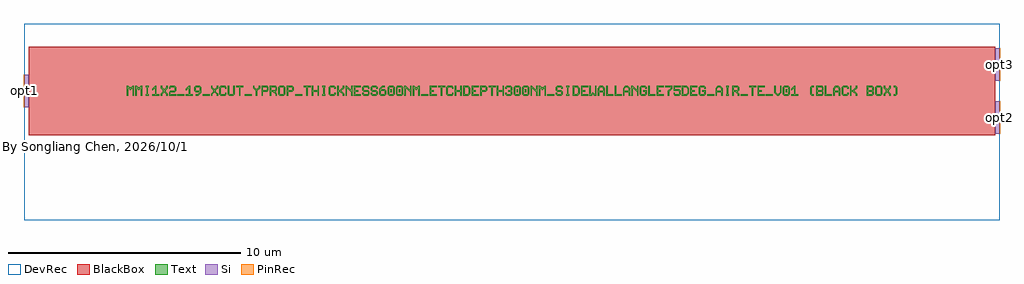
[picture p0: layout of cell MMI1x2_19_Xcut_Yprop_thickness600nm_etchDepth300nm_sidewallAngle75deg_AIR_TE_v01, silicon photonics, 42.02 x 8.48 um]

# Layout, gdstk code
import gdstk
lib = gdstk.Library(unit=1e-6, precision=1e-10)
def R(c, l, rs):  # rectangles x0, y0, x1, y1
    for r in rs: c.add(gdstk.rectangle(r[:2], r[2:], *l))
def A(c, l, x, y, w, h, nx, ny, dx, dy):  # array of equal rectangles
    R(c, l, [(x+i*dx, y+j*dy, x+i*dx+w, y+j*dy+h) for i in range(nx) for j in range(ny)])
def P(c, l, *ps):  # polygons
    for p in ps: c.add(gdstk.Polygon(p, *l))
Si = (1, 0)
PinRec = (1, 10)
Text = (10, 0)
DevRec = (68, 0)
BlackBox = (998, 0)

text = lib.new_cell('TEXT')
A(text, Text, 7.24, 0, 0.301, 0.06, 3, 1, 5.43, 0)
R(text, Text, [(2.172,0,2.473,0.06), (3.258,0,3.559,0.06), (5.068,0,5.369,0.06), (24.978,0,25.279,0.06), (26.426,0,26.727,0.06), (27.512,0,27.813,0.06), (11.343,0.151,11.403,0.271), (11.705,0.151,11.765,0.271), (16.773,0.151,16.833,0.271), (17.135,0.151,17.195,0.271), (28.357,0.151,28.417,0.271)])
P(text, Text, [(0,0),(0,0.422),(0.06,0.422),(0.121,0.362),(0.181,0.362),(0.241,0.422),(0.301,0.422),(0.301,0),(0.241,0),(0.241,0.301),(0.211,0.301),(0.151,0.241),(0.09,0.301),(0.06,0.301),(0.06,0)],
  [(0.362,0),(0.362,0.422),(0.422,0.422),(0.483,0.362),(0.543,0.362),(0.603,0.422),(0.663,0.422),(0.663,0),(0.603,0),(0.603,0.301),(0.573,0.301),(0.513,0.241),(0.452,0.301),(0.422,0.301),(0.422,0)],
  [(0.814,0),(0.814,0.06),(0.845,0.06),(0.845,0.362),(0.814,0.362),(0.814,0.422),(0.935,0.422),(0.935,0.362),(0.905,0.362),(0.905,0.06),(0.935,0.06),(0.935,0)],
  [(1.086,0),(1.086,0.06),(1.207,0.06),(1.207,0.301),(1.176,0.301),(1.116,0.241),(1.086,0.241),(1.086,0.301),(1.207,0.422),(1.267,0.422),(1.267,0.06),(1.387,0.06),(1.387,0)],
  [(1.448,0),(1.448,0.09),(1.538,0.181),(1.538,0.241),(1.448,0.332),(1.448,0.422),(1.508,0.422),(1.508,0.362),(1.599,0.271),(1.689,0.362),(1.689,0.422),(1.749,0.422),(1.749,0.332),(1.659,0.241),(1.659,0.181),(1.749,0.09),(1.749,0),(1.689,0),(1.689,0.06),(1.599,0.151),(1.508,0.06),(1.508,0)],
  [(1.81,0),(1.81,0.151),(1.87,0.211),(2.021,0.211),(2.051,0.241),(2.051,0.332),(2.021,0.362),(1.9,0.362),(1.87,0.332),(1.87,0.301),(1.81,0.301),(1.81,0.362),(1.87,0.422),(2.051,0.422),(2.111,0.362),(2.111,0.211),(2.051,0.151),(1.9,0.151),(1.87,0.121),(1.87,0.06),(2.111,0.06),(2.111,0)],
  [(2.534,0),(2.534,0.06),(2.655,0.06),(2.655,0.301),(2.624,0.301),(2.564,0.241),(2.534,0.241),(2.534,0.301),(2.655,0.422),(2.715,0.422),(2.715,0.06),(2.835,0.06),(2.835,0)],
  [(2.956,0),(2.956,0.06),(3.047,0.06),(3.107,0.121),(3.107,0.151),(2.956,0.151),(2.896,0.211),(3.107,0.211),(3.137,0.241),(3.137,0.332),(3.107,0.362),(2.986,0.362),(2.956,0.332),(2.956,0.241),(2.986,0.211),(2.896,0.211),(2.896,0.362),(2.956,0.422),(3.137,0.422),(3.197,0.362),(3.197,0.121),(3.077,0)],
  [(3.62,0),(3.62,0.09),(3.71,0.181),(3.71,0.241),(3.62,0.332),(3.62,0.422),(3.68,0.422),(3.68,0.362),(3.771,0.271),(3.861,0.362),(3.861,0.422),(3.921,0.422),(3.921,0.332),(3.831,0.241),(3.831,0.181),(3.921,0.09),(3.921,0),(3.861,0),(3.861,0.06),(3.771,0.151),(3.68,0.06),(3.68,0)],
  [(4.042,0),(3.982,0.06),(3.982,0.362),(4.042,0.422),(4.223,0.422),(4.283,0.362),(4.283,0.301),(4.223,0.301),(4.223,0.332),(4.193,0.362),(4.072,0.362),(4.042,0.332),(4.042,0.09),(4.072,0.06),(4.193,0.06),(4.223,0.09),(4.223,0.121),(4.283,0.121),(4.283,0.06),(4.223,0)],
  [(4.404,0),(4.344,0.06),(4.344,0.422),(4.404,0.422),(4.404,0.09),(4.434,0.06),(4.555,0.06),(4.585,0.09),(4.585,0.422),(4.645,0.422),(4.645,0.06),(4.585,0)],
  [(4.827,0),(4.827,0.362),(4.706,0.362),(4.706,0.422),(5.007,0.422),(5.007,0.362),(4.887,0.362),(4.887,0)],
  [(5.551,0),(5.551,0.211),(5.43,0.332),(5.43,0.422),(5.49,0.422),(5.49,0.362),(5.581,0.271),(5.671,0.362),(5.671,0.422),(5.731,0.422),(5.731,0.332),(5.611,0.211),(5.611,0)],
  [(5.792,0),(5.792,0.422),(6.033,0.422),(6.093,0.362),(6.093,0.241),(6.033,0.181),(5.852,0.181),(5.852,0.241),(6.003,0.241),(6.033,0.271),(6.033,0.332),(6.003,0.362),(5.852,0.362),(5.852,0)],
  [(6.154,0),(6.154,0.422),(6.395,0.422),(6.455,0.362),(6.214,0.362),(6.214,0.241),(6.365,0.241),(6.395,0.271),(6.395,0.332),(6.365,0.362),(6.455,0.362),(6.455,0.241),(6.395,0.181),(6.395,0.151),(6.455,0.09),(6.455,0),(6.395,0),(6.395,0.06),(6.275,0.181),(6.214,0.181),(6.214,0)],
  [(6.576,0),(6.516,0.06),(6.516,0.362),(6.576,0.422),(6.757,0.422),(6.817,0.362),(6.817,0.211),(6.757,0.211),(6.757,0.332),(6.727,0.362),(6.606,0.362),(6.576,0.332),(6.576,0.09),(6.606,0.06),(6.727,0.06),(6.757,0.09),(6.757,0.211),(6.817,0.211),(6.817,0.06),(6.757,0)],
  [(6.878,0),(6.878,0.422),(7.119,0.422),(7.179,0.362),(7.179,0.241),(7.119,0.181),(6.938,0.181),(6.938,0.241),(7.089,0.241),(7.119,0.271),(7.119,0.332),(7.089,0.362),(6.938,0.362),(6.938,0)],
  [(7.723,0),(7.723,0.362),(7.602,0.362),(7.602,0.422),(7.903,0.422),(7.903,0.362),(7.783,0.362),(7.783,0)],
  [(7.964,0),(7.964,0.422),(8.024,0.422),(8.024,0.241),(8.205,0.241),(8.205,0.422),(8.265,0.422),(8.265,0),(8.205,0),(8.205,0.181),(8.024,0.181),(8.024,0)],
  [(8.416,0),(8.416,0.06),(8.447,0.06),(8.447,0.362),(8.416,0.362),(8.416,0.422),(8.537,0.422),(8.537,0.362),(8.507,0.362),(8.507,0.06),(8.537,0.06),(8.537,0)],
  [(8.748,0),(8.688,0.06),(8.688,0.362),(8.748,0.422),(8.929,0.422),(8.989,0.362),(8.989,0.301),(8.929,0.301),(8.929,0.332),(8.899,0.362),(8.778,0.362),(8.748,0.332),(8.748,0.09),(8.778,0.06),(8.899,0.06),(8.929,0.09),(8.929,0.121),(8.989,0.121),(8.989,0.06),(8.929,0)],
  [(9.05,0),(9.05,0.422),(9.11,0.422),(9.11,0.241),(9.171,0.241),(9.291,0.362),(9.291,0.422),(9.351,0.422),(9.351,0.332),(9.231,0.211),(9.351,0.09),(9.351,0),(9.291,0),(9.291,0.06),(9.171,0.181),(9.11,0.181),(9.11,0)],
  [(9.412,0),(9.412,0.422),(9.472,0.422),(9.623,0.271),(9.653,0.271),(9.653,0.422),(9.713,0.422),(9.713,0),(9.653,0),(9.653,0.151),(9.502,0.301),(9.472,0.301),(9.472,0)],
  [(9.774,0),(9.774,0.422),(10.075,0.422),(10.075,0.362),(9.834,0.362),(9.834,0.241),(9.955,0.241),(9.955,0.181),(9.834,0.181),(9.834,0.06),(10.075,0.06),(10.075,0)],
  [(10.196,0),(10.136,0.06),(10.136,0.121),(10.196,0.121),(10.196,0.09),(10.226,0.06),(10.347,0.06),(10.377,0.09),(10.377,0.151),(10.347,0.181),(10.196,0.181),(10.136,0.241),(10.136,0.362),(10.196,0.422),(10.377,0.422),(10.437,0.362),(10.437,0.301),(10.377,0.301),(10.377,0.332),(10.347,0.362),(10.226,0.362),(10.196,0.332),(10.196,0.271),(10.226,0.241),(10.377,0.241),(10.437,0.181),(10.437,0.06),(10.377,0)],
  [(10.558,0),(10.498,0.06),(10.498,0.121),(10.558,0.121),(10.558,0.09),(10.588,0.06),(10.709,0.06),(10.739,0.09),(10.739,0.151),(10.709,0.181),(10.558,0.181),(10.498,0.241),(10.498,0.362),(10.558,0.422),(10.739,0.422),(10.799,0.362),(10.799,0.301),(10.739,0.301),(10.739,0.332),(10.709,0.362),(10.588,0.362),(10.558,0.332),(10.558,0.271),(10.588,0.241),(10.739,0.241),(10.799,0.181),(10.799,0.06),(10.739,0)],
  [(10.92,0),(10.86,0.06),(10.86,0.301),(10.981,0.422),(11.101,0.422),(11.101,0.362),(11.011,0.362),(10.95,0.301),(10.95,0.271),(11.101,0.271),(11.161,0.211),(10.95,0.211),(10.92,0.181),(10.92,0.09),(10.95,0.06),(11.071,0.06),(11.101,0.09),(11.101,0.181),(11.071,0.211),(11.161,0.211),(11.161,0.06),(11.101,0)],
  [(11.282,0),(11.222,0.06),(11.222,0.362),(11.282,0.422),(11.463,0.422),(11.523,0.362),(11.312,0.362),(11.282,0.332),(11.282,0.09),(11.312,0.06),(11.433,0.06),(11.463,0.09),(11.463,0.332),(11.433,0.362),(11.523,0.362),(11.523,0.06),(11.463,0)],
  [(11.644,0),(11.584,0.06),(11.584,0.362),(11.644,0.422),(11.825,0.422),(11.885,0.362),(11.674,0.362),(11.644,0.332),(11.644,0.09),(11.674,0.06),(11.795,0.06),(11.825,0.09),(11.825,0.332),(11.795,0.362),(11.885,0.362),(11.885,0.06),(11.825,0)],
  [(11.946,0),(11.946,0.422),(12.006,0.422),(12.157,0.271),(12.187,0.271),(12.187,0.422),(12.247,0.422),(12.247,0),(12.187,0),(12.187,0.151),(12.036,0.301),(12.006,0.301),(12.006,0)],
  [(12.308,0),(12.308,0.422),(12.368,0.422),(12.429,0.362),(12.489,0.362),(12.549,0.422),(12.609,0.422),(12.609,0),(12.549,0),(12.549,0.301),(12.519,0.301),(12.459,0.241),(12.398,0.301),(12.368,0.301),(12.368,0)],
  [(13.032,0),(13.032,0.422),(13.333,0.422),(13.333,0.362),(13.092,0.362),(13.092,0.241),(13.213,0.241),(13.213,0.181),(13.092,0.181),(13.092,0.06),(13.333,0.06),(13.333,0)],
  [(13.515,0),(13.515,0.362),(13.394,0.362),(13.394,0.422),(13.695,0.422),(13.695,0.362),(13.575,0.362),(13.575,0)],
  [(13.816,0),(13.756,0.06),(13.756,0.362),(13.816,0.422),(13.997,0.422),(14.057,0.362),(14.057,0.301),(13.997,0.301),(13.997,0.332),(13.967,0.362),(13.846,0.362),(13.816,0.332),(13.816,0.09),(13.846,0.06),(13.967,0.06),(13.997,0.09),(13.997,0.121),(14.057,0.121),(14.057,0.06),(13.997,0)],
  [(14.118,0),(14.118,0.422),(14.178,0.422),(14.178,0.241),(14.359,0.241),(14.359,0.422),(14.419,0.422),(14.419,0),(14.359,0),(14.359,0.181),(14.178,0.181),(14.178,0)],
  [(14.48,0),(14.48,0.422),(14.691,0.422),(14.751,0.362),(14.54,0.362),(14.54,0.06),(14.661,0.06),(14.721,0.121),(14.721,0.301),(14.661,0.362),(14.751,0.362),(14.781,0.332),(14.781,0.09),(14.691,0)],
  [(14.842,0),(14.842,0.422),(15.143,0.422),(15.143,0.362),(14.902,0.362),(14.902,0.241),(15.023,0.241),(15.023,0.181),(14.902,0.181),(14.902,0.06),(15.143,0.06),(15.143,0)],
  [(15.204,0),(15.204,0.422),(15.445,0.422),(15.505,0.362),(15.505,0.241),(15.445,0.181),(15.264,0.181),(15.264,0.241),(15.415,0.241),(15.445,0.271),(15.445,0.332),(15.415,0.362),(15.264,0.362),(15.264,0)],
  [(15.687,0),(15.687,0.362),(15.566,0.362),(15.566,0.422),(15.867,0.422),(15.867,0.362),(15.747,0.362),(15.747,0)],
  [(15.928,0),(15.928,0.422),(15.988,0.422),(15.988,0.241),(16.169,0.241),(16.169,0.422),(16.229,0.422),(16.229,0),(16.169,0),(16.169,0.181),(15.988,0.181),(15.988,0)],
  [(16.35,0),(16.29,0.06),(16.29,0.121),(16.35,0.121),(16.35,0.09),(16.38,0.06),(16.501,0.06),(16.531,0.09),(16.531,0.151),(16.501,0.181),(16.411,0.181),(16.411,0.241),(16.501,0.241),(16.531,0.271),(16.531,0.332),(16.501,0.362),(16.38,0.362),(16.35,0.332),(16.35,0.301),(16.29,0.301),(16.29,0.362),(16.35,0.422),(16.531,0.422),(16.591,0.362),(16.591,0.241),(16.561,0.211),(16.591,0.181),(16.591,0.06),(16.531,0)],
  [(16.712,0),(16.652,0.06),(16.652,0.362),(16.712,0.422),(16.893,0.422),(16.953,0.362),(16.742,0.362),(16.712,0.332),(16.712,0.09),(16.742,0.06),(16.863,0.06),(16.893,0.09),(16.893,0.332),(16.863,0.362),(16.953,0.362),(16.953,0.06),(16.893,0)],
  [(17.074,0),(17.014,0.06),(17.014,0.362),(17.074,0.422),(17.255,0.422),(17.315,0.362),(17.104,0.362),(17.074,0.332),(17.074,0.09),(17.104,0.06),(17.225,0.06),(17.255,0.09),(17.255,0.332),(17.225,0.362),(17.315,0.362),(17.315,0.06),(17.255,0)],
  [(17.376,0),(17.376,0.422),(17.436,0.422),(17.587,0.271),(17.617,0.271),(17.617,0.422),(17.677,0.422),(17.677,0),(17.617,0),(17.617,0.151),(17.466,0.301),(17.436,0.301),(17.436,0)],
  [(17.738,0),(17.738,0.422),(17.798,0.422),(17.859,0.362),(17.919,0.362),(17.979,0.422),(18.039,0.422),(18.039,0),(17.979,0),(17.979,0.301),(17.949,0.301),(17.889,0.241),(17.828,0.301),(17.798,0.301),(17.798,0)],
  [(18.522,0),(18.462,0.06),(18.462,0.121),(18.522,0.121),(18.522,0.09),(18.552,0.06),(18.673,0.06),(18.703,0.09),(18.703,0.151),(18.673,0.181),(18.522,0.181),(18.462,0.241),(18.462,0.362),(18.522,0.422),(18.703,0.422),(18.763,0.362),(18.763,0.301),(18.703,0.301),(18.703,0.332),(18.673,0.362),(18.552,0.362),(18.522,0.332),(18.522,0.271),(18.552,0.241),(18.703,0.241),(18.763,0.181),(18.763,0.06),(18.703,0)],
  [(18.914,0),(18.914,0.06),(18.945,0.06),(18.945,0.362),(18.914,0.362),(18.914,0.422),(19.035,0.422),(19.035,0.362),(19.005,0.362),(19.005,0.06),(19.035,0.06),(19.035,0)],
  [(19.186,0),(19.186,0.422),(19.397,0.422),(19.457,0.362),(19.246,0.362),(19.246,0.06),(19.367,0.06),(19.427,0.121),(19.427,0.301),(19.367,0.362),(19.457,0.362),(19.487,0.332),(19.487,0.09),(19.397,0)],
  [(19.548,0),(19.548,0.422),(19.849,0.422),(19.849,0.362),(19.608,0.362),(19.608,0.241),(19.729,0.241),(19.729,0.181),(19.608,0.181),(19.608,0.06),(19.849,0.06),(19.849,0)],
  [(19.91,0),(19.91,0.422),(19.97,0.422),(19.97,0.09),(20,0.09),(20.061,0.151),(20.121,0.09),(20.151,0.09),(20.151,0.422),(20.211,0.422),(20.211,0),(20.121,0),(20.061,0.06),(20,0)],
  [(20.272,0),(20.272,0.332),(20.362,0.422),(20.483,0.422),(20.543,0.362),(20.393,0.362),(20.332,0.301),(20.332,0.211),(20.513,0.211),(20.513,0.301),(20.453,0.362),(20.543,0.362),(20.573,0.332),(20.573,0),(20.513,0),(20.513,0.151),(20.332,0.151),(20.332,0)],
  [(20.634,0),(20.634,0.422),(20.694,0.422),(20.694,0.06),(20.935,0.06),(20.935,0)],
  [(20.996,0),(20.996,0.422),(21.056,0.422),(21.056,0.06),(21.297,0.06),(21.297,0)],
  [(21.358,0),(21.358,0.332),(21.448,0.422),(21.569,0.422),(21.629,0.362),(21.479,0.362),(21.418,0.301),(21.418,0.211),(21.599,0.211),(21.599,0.301),(21.539,0.362),(21.629,0.362),(21.659,0.332),(21.659,0),(21.599,0),(21.599,0.151),(21.418,0.151),(21.418,0)],
  [(21.72,0),(21.72,0.422),(21.78,0.422),(21.931,0.271),(21.961,0.271),(21.961,0.422),(22.021,0.422),(22.021,0),(21.961,0),(21.961,0.151),(21.81,0.301),(21.78,0.301),(21.78,0)],
  [(22.142,0),(22.082,0.06),(22.082,0.362),(22.142,0.422),(22.323,0.422),(22.383,0.362),(22.383,0.301),(22.323,0.301),(22.323,0.332),(22.293,0.362),(22.172,0.362),(22.142,0.332),(22.142,0.09),(22.172,0.06),(22.293,0.06),(22.323,0.09),(22.323,0.181),(22.233,0.181),(22.233,0.241),(22.383,0.241),(22.383,0.06),(22.323,0)],
  [(22.444,0),(22.444,0.422),(22.504,0.422),(22.504,0.06),(22.745,0.06),(22.745,0)],
  [(22.806,0),(22.806,0.422),(23.107,0.422),(23.107,0.362),(22.866,0.362),(22.866,0.241),(22.987,0.241),(22.987,0.181),(22.866,0.181),(22.866,0.06),(23.107,0.06),(23.107,0)],
  [(23.289,0),(23.289,0.211),(23.409,0.332),(23.409,0.362),(23.168,0.362),(23.168,0.422),(23.469,0.422),(23.469,0.301),(23.349,0.181),(23.349,0)],
  [(23.59,0),(23.53,0.06),(23.53,0.121),(23.59,0.121),(23.59,0.09),(23.62,0.06),(23.741,0.06),(23.771,0.09),(23.771,0.181),(23.741,0.211),(23.53,0.211),(23.53,0.422),(23.831,0.422),(23.831,0.362),(23.59,0.362),(23.59,0.271),(23.771,0.271),(23.831,0.211),(23.831,0.06),(23.771,0)],
  [(23.892,0),(23.892,0.422),(24.103,0.422),(24.163,0.362),(23.952,0.362),(23.952,0.06),(24.073,0.06),(24.133,0.121),(24.133,0.301),(24.073,0.362),(24.163,0.362),(24.193,0.332),(24.193,0.09),(24.103,0)],
  [(24.254,0),(24.254,0.422),(24.555,0.422),(24.555,0.362),(24.314,0.362),(24.314,0.241),(24.435,0.241),(24.435,0.181),(24.314,0.181),(24.314,0.06),(24.555,0.06),(24.555,0)],
  [(24.676,0),(24.616,0.06),(24.616,0.362),(24.676,0.422),(24.857,0.422),(24.917,0.362),(24.917,0.301),(24.857,0.301),(24.857,0.332),(24.827,0.362),(24.706,0.362),(24.676,0.332),(24.676,0.09),(24.706,0.06),(24.827,0.06),(24.857,0.09),(24.857,0.181),(24.767,0.181),(24.767,0.241),(24.917,0.241),(24.917,0.06),(24.857,0)],
  [(25.34,0),(25.34,0.332),(25.43,0.422),(25.551,0.422),(25.611,0.362),(25.461,0.362),(25.4,0.301),(25.4,0.211),(25.581,0.211),(25.581,0.301),(25.521,0.362),(25.611,0.362),(25.641,0.332),(25.641,0),(25.581,0),(25.581,0.151),(25.4,0.151),(25.4,0)],
  [(25.792,0),(25.792,0.06),(25.823,0.06),(25.823,0.362),(25.792,0.362),(25.792,0.422),(25.913,0.422),(25.913,0.362),(25.883,0.362),(25.883,0.06),(25.913,0.06),(25.913,0)],
  [(26.064,0),(26.064,0.422),(26.305,0.422),(26.365,0.362),(26.124,0.362),(26.124,0.241),(26.275,0.241),(26.305,0.271),(26.305,0.332),(26.275,0.362),(26.365,0.362),(26.365,0.241),(26.305,0.181),(26.305,0.151),(26.365,0.09),(26.365,0),(26.305,0),(26.305,0.06),(26.185,0.181),(26.124,0.181),(26.124,0)],
  [(26.909,0),(26.909,0.362),(26.788,0.362),(26.788,0.422),(27.089,0.422),(27.089,0.362),(26.969,0.362),(26.969,0)],
  [(27.15,0),(27.15,0.422),(27.451,0.422),(27.451,0.362),(27.21,0.362),(27.21,0.241),(27.331,0.241),(27.331,0.181),(27.21,0.181),(27.21,0.06),(27.451,0.06),(27.451,0)],
  [(27.995,0),(27.874,0.121),(27.874,0.422),(27.934,0.422),(27.934,0.151),(28.025,0.06),(28.115,0.151),(28.115,0.422),(28.175,0.422),(28.175,0.121),(28.055,0)],
  [(28.296,0),(28.236,0.06),(28.236,0.362),(28.296,0.422),(28.477,0.422),(28.537,0.362),(28.326,0.362),(28.296,0.332),(28.296,0.09),(28.326,0.06),(28.447,0.06),(28.477,0.09),(28.477,0.332),(28.447,0.362),(28.537,0.362),(28.537,0.06),(28.477,0)],
  [(28.598,0),(28.598,0.06),(28.719,0.06),(28.719,0.301),(28.688,0.301),(28.628,0.241),(28.598,0.241),(28.598,0.301),(28.719,0.422),(28.779,0.422),(28.779,0.06),(28.899,0.06),(28.899,0)],
  [(29.473,0),(29.412,0.06),(29.412,0.362),(29.473,0.422),(29.563,0.422),(29.563,0.362),(29.503,0.362),(29.473,0.332),(29.473,0.09),(29.503,0.06),(29.563,0.06),(29.563,0)],
  [(29.684,0),(29.684,0.422),(29.925,0.422),(29.985,0.362),(29.744,0.362),(29.744,0.241),(29.895,0.241),(29.925,0.271),(29.925,0.332),(29.895,0.362),(29.985,0.362),(29.985,0.241),(29.955,0.211),(29.985,0.181),(29.744,0.181),(29.744,0.06),(29.895,0.06),(29.925,0.09),(29.925,0.151),(29.895,0.181),(29.985,0.181),(29.985,0.06),(29.925,0)],
  [(30.046,0),(30.046,0.422),(30.106,0.422),(30.106,0.06),(30.347,0.06),(30.347,0)],
  [(30.408,0),(30.408,0.332),(30.498,0.422),(30.619,0.422),(30.679,0.362),(30.529,0.362),(30.468,0.301),(30.468,0.211),(30.649,0.211),(30.649,0.301),(30.589,0.362),(30.679,0.362),(30.709,0.332),(30.709,0),(30.649,0),(30.649,0.151),(30.468,0.151),(30.468,0)],
  [(30.83,0),(30.77,0.06),(30.77,0.362),(30.83,0.422),(31.011,0.422),(31.071,0.362),(31.071,0.301),(31.011,0.301),(31.011,0.332),(30.981,0.362),(30.86,0.362),(30.83,0.332),(30.83,0.09),(30.86,0.06),(30.981,0.06),(31.011,0.09),(31.011,0.121),(31.071,0.121),(31.071,0.06),(31.011,0)],
  [(31.132,0),(31.132,0.422),(31.192,0.422),(31.192,0.241),(31.253,0.241),(31.373,0.362),(31.373,0.422),(31.433,0.422),(31.433,0.332),(31.313,0.211),(31.433,0.09),(31.433,0),(31.373,0),(31.373,0.06),(31.253,0.181),(31.192,0.181),(31.192,0)],
  [(31.856,0),(31.856,0.422),(32.097,0.422),(32.157,0.362),(31.916,0.362),(31.916,0.241),(32.067,0.241),(32.097,0.271),(32.097,0.332),(32.067,0.362),(32.157,0.362),(32.157,0.241),(32.127,0.211),(32.157,0.181),(31.916,0.181),(31.916,0.06),(32.067,0.06),(32.097,0.09),(32.097,0.151),(32.067,0.181),(32.157,0.181),(32.157,0.06),(32.097,0)],
  [(32.278,0),(32.218,0.06),(32.218,0.362),(32.278,0.422),(32.459,0.422),(32.519,0.362),(32.519,0.211),(32.459,0.211),(32.459,0.332),(32.429,0.362),(32.308,0.362),(32.278,0.332),(32.278,0.09),(32.308,0.06),(32.429,0.06),(32.459,0.09),(32.459,0.211),(32.519,0.211),(32.519,0.06),(32.459,0)],
  [(32.58,0),(32.58,0.09),(32.67,0.181),(32.67,0.241),(32.58,0.332),(32.58,0.422),(32.64,0.422),(32.64,0.362),(32.731,0.271),(32.821,0.362),(32.821,0.422),(32.881,0.422),(32.881,0.332),(32.791,0.241),(32.791,0.181),(32.881,0.09),(32.881,0),(32.821,0),(32.821,0.06),(32.731,0.151),(32.64,0.06),(32.64,0)],
  [(33.002,0),(33.002,0.06),(33.063,0.06),(33.093,0.09),(33.093,0.332),(33.063,0.362),(33.002,0.362),(33.002,0.422),(33.093,0.422),(33.153,0.362),(33.153,0.06),(33.093,0)])

mmi1x2_19_xcut_yprop_thi = lib.new_cell('MMI1x2_19_Xcut_Yprop_thickness600nm_etchDepth300nm_sidewallAngle75deg_AIR_TE_v01')
R(mmi1x2_19_xcut_yprop_thi, Si, [(20.8,-1.84,21,-0.44), (-21,-0.7,-20.8,0.7), (20.8,0.44,21,1.84)])
R(mmi1x2_19_xcut_yprop_thi, DevRec, [(-21,-5.5788,21,2.9)])
R(mmi1x2_19_xcut_yprop_thi, BlackBox, [(-20.8,-1.9,20.8,1.9)])
mmi1x2_19_xcut_yprop_thi.add(gdstk.FlexPath([(-20.99,0),(-21.01,0)], 1.4, ends="flush", simple_path=True, layer=1, datatype=10))  # PinRec
mmi1x2_19_xcut_yprop_thi.add(gdstk.FlexPath([(20.99,-1.14),(21.01,-1.14)], 1.4, ends="flush", simple_path=True, layer=1, datatype=10))  # PinRec
mmi1x2_19_xcut_yprop_thi.add(gdstk.FlexPath([(20.99,1.14),(21.01,1.14)], 1.4, ends="flush", simple_path=True, layer=1, datatype=10))  # PinRec
mmi1x2_19_xcut_yprop_thi.add(gdstk.Reference(text, (-16.5765,-0.211)))
mmi1x2_19_xcut_yprop_thi.add(gdstk.Label('opt1', (-21,0), layer=1, texttype=10))
mmi1x2_19_xcut_yprop_thi.add(gdstk.Label('opt2', (21,-1.14), layer=1, texttype=10))
mmi1x2_19_xcut_yprop_thi.add(gdstk.Label('opt3', (21,1.14), layer=1, texttype=10))
mmi1x2_19_xcut_yprop_thi.add(gdstk.Label('By Songliang Chen, 2026/10/13', (-20.5,-2.4), layer=10, texttype=0))

lib.write_gds('MMI1x2_19_Xcut_Yprop_thickness600nm_etchDepth300nm_sidewallAngle75deg_AIR_TE_v01.gds')
